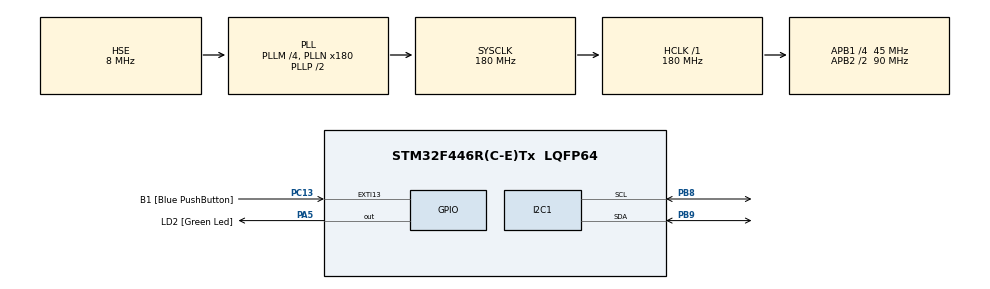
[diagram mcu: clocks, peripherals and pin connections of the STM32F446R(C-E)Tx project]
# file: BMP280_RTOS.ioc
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FREERTOS.Queues01=temp,16,float,0,Dynamic,NULL,NULL
FREERTOS.Tasks01=thread_sensor,0,128,thread_sensor_fun,Default,NULL,Dynamic,NULL,NULL;thread_read,0,128,thread_read_func,Default,NULL,Dynamic,NULL,NULL
I2C1.I2C_Mode=I2C_Fast
Mcu.Family=STM32F4
Mcu.Name=STM32F446R(C-E)Tx
Mcu.Package=LQFP64
NVIC.PriorityGroup=NVIC_PRIORITYGROUP_4
NVIC.TIM7_IRQn=true\:0\:0\:false\:false\:true\:false\:false\:true
NVIC.TimeBase=TIM7_IRQn
NVIC.TimeBaseIP=TIM7
PA13.GPIO_Label=TMS
PA13.Mode=Serial_Wire
PA13.Signal=SYS_JTMS-SWDIO
PA14.GPIO_Label=TCK
PA14.Mode=Serial_Wire
PA14.Signal=SYS_JTCK-SWCLK
PA2.GPIO_Label=USART_TX
PA2.Signal=USART2_TX
PA3.GPIO_Label=USART_RX
PA3.Signal=USART2_RX
PA5.GPIO_Label=LD2 [Green Led]
PA5.Signal=GPIO_Output
PB3.GPIO_Label=SWO
PB3.Signal=SYS_JTDO-SWO
PB8.Mode=I2C
PB8.Signal=I2C1_SCL
PB9.Mode=I2C
PB9.Signal=I2C1_SDA
PC13.GPIO_Label=B1 [Blue PushButton]
PC13.GPIO_ModeDefaultEXTI=GPIO_MODE_IT_FALLING
PC13.Signal=GPXTI13
PC14-OSC32_IN.Signal=RCC_OSC32_IN
PC15-OSC32_OUT.Signal=RCC_OSC32_OUT
PH0-OSC_IN.Mode=HSE-External-Clock-Source
PH0-OSC_IN.Signal=RCC_OSC_IN
PH1-OSC_OUT.Mode=HSE-External-Clock-Source
PH1-OSC_OUT.Signal=RCC_OSC_OUT
ProjectManager.HeapSize=0x200
ProjectManager.StackSize=0x400
ProjectManager.TargetToolchain=STM32CubeIDE
RCC.AHBFreq_Value=180000000
RCC.APB1CLKDivider=RCC_HCLK_DIV4
RCC.APB1Freq_Value=45000000
RCC.APB1TimFreq_Value=90000000
RCC.APB2CLKDivider=RCC_HCLK_DIV2
RCC.APB2Freq_Value=90000000
RCC.APB2TimFreq_Value=180000000
RCC.CortexFreq_Value=180000000
RCC.FLatency-AdvancedSettings=FLASH_LATENCY_5
RCC.HCLKFreq_Value=180000000
RCC.HSE_VALUE=8000000
RCC.HSI_VALUE=16000000
RCC.LSE_VALUE=32768
RCC.PLLM=4
RCC.PLLN=180
RCC.PLLSourceVirtual=RCC_PLLSOURCE_HSE
RCC.SYSCLKFreq_VALUE=180000000
RCC.SYSCLKSource=RCC_SYSCLKSOURCE_PLLCLK
RCC.USBFreq_Value=180000000
RCC.VCOOutputFreq_Value=360000000
VP_FREERTOS_VS_CMSIS_V1.Mode=CMSIS_V1
VP_SYS_VS_tim7.Mode=TIM7
board=NUCLEO-F446RE

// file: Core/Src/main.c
/* USER CODE BEGIN Header */
/**
  ******************************************************************************
  * @file           : main.c
  * @brief          : Main program body
  ******************************************************************************
  * @attention
  *
  * <h2><center>&copy; Copyright (c) 2020 STMicroelectronics.
  * All rights reserved.</center></h2>
  *
  * This software component is licensed by ST under BSD 3-Clause license,
  * the "License"; You may not use this file except in compliance with the
  * License. You may obtain a copy of the License at:
  *                        opensource.org/licenses/BSD-3-Clause
  *
  ******************************************************************************
  */
/* USER CODE END Header */

#include "main.h"
#include "cmsis_os.h"
#include "i2c.h"
#include "gpio.h"
#include "lcd.h"

void SystemClock_Config(void);
void MX_FREERTOS_Init(void);

int main(void)
{

  /* MCU Configuration--------------------------------------------------------*/

  /* Reset of all peripherals, Initializes the Flash interface and the Systick. */
  HAL_Init();

  /* Configure the system clock */
  SystemClock_Config();

  /* Initialize all configured peripherals */
  MX_GPIO_Init();
  MX_I2C1_Init();
  /* USER CODE BEGIN 2 */
  LCD_Init();
  /* USER CODE END 2 */

  /* Call init function for freertos objects (in freertos.c) */
  MX_FREERTOS_Init();

  /* Start scheduler */
  osKernelStart();

  /* We should never get here as control is now taken by the scheduler */

  /* Infinite loop */
  while (1)
  {

  }
}

void SystemClock_Config(void)
{
  RCC_OscInitTypeDef RCC_OscInitStruct = {0};
  RCC_ClkInitTypeDef RCC_ClkInitStruct = {0};

  /** Configure the main internal regulator output voltage
  */
  __HAL_RCC_PWR_CLK_ENABLE();
  __HAL_PWR_VOLTAGESCALING_CONFIG(PWR_REGULATOR_VOLTAGE_SCALE1);
  /** Initializes the CPU, AHB and APB busses clocks
  */
  RCC_OscInitStruct.OscillatorType = RCC_OSCILLATORTYPE_HSE;
  RCC_OscInitStruct.HSEState = RCC_HSE_BYPASS;
  RCC_OscInitStruct.PLL.PLLState = RCC_PLL_ON;
  RCC_OscInitStruct.PLL.PLLSource = RCC_PLLSOURCE_HSE;
  RCC_OscInitStruct.PLL.PLLM = 4;
  RCC_OscInitStruct.PLL.PLLN = 180;
  RCC_OscInitStruct.PLL.PLLP = RCC_PLLP_DIV2;
  RCC_OscInitStruct.PLL.PLLQ = 2;
  RCC_OscInitStruct.PLL.PLLR = 2;
  if (HAL_RCC_OscConfig(&RCC_OscInitStruct) != HAL_OK)
  {
    Error_Handler();
  }
  /** Activate the Over-Drive mode
  */
  if (HAL_PWREx_EnableOverDrive() != HAL_OK)
  {
    Error_Handler();
  }
  /** Initializes the CPU, AHB and APB busses clocks
  */
  RCC_ClkInitStruct.ClockType = RCC_CLOCKTYPE_HCLK|RCC_CLOCKTYPE_SYSCLK
                              |RCC_CLOCKTYPE_PCLK1|RCC_CLOCKTYPE_PCLK2;
  RCC_ClkInitStruct.SYSCLKSource = RCC_SYSCLKSOURCE_PLLCLK;
  RCC_ClkInitStruct.AHBCLKDivider = RCC_SYSCLK_DIV1;
  RCC_ClkInitStruct.APB1CLKDivider = RCC_HCLK_DIV4;
  RCC_ClkInitStruct.APB2CLKDivider = RCC_HCLK_DIV2;

  if (HAL_RCC_ClockConfig(&RCC_ClkInitStruct, FLASH_LATENCY_5) != HAL_OK)
  {
    Error_Handler();
  }
}

void HAL_TIM_PeriodElapsedCallback(TIM_HandleTypeDef *htim)
{
  if (htim->Instance == TIM7) {
    HAL_IncTick();
  }
}

void Error_Handler(void)
{
}

/************************ (C) COPYRIGHT STMicroelectronics *****END OF FILE****/

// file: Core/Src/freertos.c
/* USER CODE BEGIN Header */
/**
  ******************************************************************************
  * File Name          : freertos.c
  * Description        : Code for freertos applications
  ******************************************************************************
  * @attention
  *
  * <h2><center>&copy; Copyright (c) 2020 STMicroelectronics.
  * All rights reserved.</center></h2>
  *
  * This software component is licensed by ST under Ultimate Liberty license
  * SLA0044, the "License"; You may not use this file except in compliance with
  * the License. You may obtain a copy of the License at:
  *                             www.st.com/SLA0044
  *
  ******************************************************************************
  */
/* USER CODE END Header */

#include "FreeRTOS.h"
#include "task.h"
#include "main.h"
#include "cmsis_os.h"
/* USER CODE BEGIN Includes */
#include "i2c.h"
#include "BMP280.h"
#include "stdio.h"
#include "lcd.h"
#include "string.h"
/* USER CODE END Includes */

/* USER CODE BEGIN Variables */
/* Variables for all measurements */
typedef struct{
	double temp , press;
} data;
/* USER CODE END Variables */
osThreadId thread_sensorHandle;
osThreadId thread_readHandle;
//osMessageQId tempHandle;
osMailQId mailHandle;

void thread_sensor_fun(void const * argument);
void thread_read_func(void const * argument);

void MX_FREERTOS_Init(void); /* (MISRA C 2004 rule 8.1) */

/* GetIdleTaskMemory prototype (linked to static allocation support) */
void vApplicationGetIdleTaskMemory( StaticTask_t **ppxIdleTaskTCBBuffer, StackType_t **ppxIdleTaskStackBuffer, uint32_t *pulIdleTaskStackSize );

/* USER CODE BEGIN GET_IDLE_TASK_MEMORY */
static StaticTask_t xIdleTaskTCBBuffer;
static StackType_t xIdleStack[configMINIMAL_STACK_SIZE];

void vApplicationGetIdleTaskMemory( StaticTask_t **ppxIdleTaskTCBBuffer, StackType_t **ppxIdleTaskStackBuffer, uint32_t *pulIdleTaskStackSize )
{
  *ppxIdleTaskTCBBuffer = &xIdleTaskTCBBuffer;
  *ppxIdleTaskStackBuffer = &xIdleStack[0];
  *pulIdleTaskStackSize = configMINIMAL_STACK_SIZE;
  /* place for user code */
}
/* USER CODE END GET_IDLE_TASK_MEMORY */

void MX_FREERTOS_Init(void) {
  /* USER CODE BEGIN Init */
	//double buffer;

  /* USER CODE END Init */

  /* Create the queue(s) */
  /* mail messages */
  osMailQDef(mail, 16, data);
  //mailYPRHandle = osMailCreate(osMailQ(mailYPR), NULL);

  mailHandle = osMailCreate(osMailQ(mail), NULL);

  /* Create the thread(s) */
  /* definition and creation of thread_sensor */
  osThreadDef(thread_sensor, thread_sensor_fun, osPriorityNormal, 0, 128);
  thread_sensorHandle = osThreadCreate(osThread(thread_sensor), NULL);

  /* definition and creation of thread_read */
  osThreadDef(thread_read, thread_read_func, osPriorityNormal, 0, 128);
  thread_readHandle = osThreadCreate(osThread(thread_read), NULL);

}

void thread_sensor_fun(void const * argument)
{
  /* USER CODE BEGIN thread_sensor_fun */
    double temprature;

	int8_t com_rslt;

	bmp280_t bmp280;
	bmp280.i2c_handle = &hi2c1;
	bmp280.dev_addr = BMP280_I2C_ADDRESS1;
	com_rslt = BMP280_init(&bmp280);
	com_rslt += BMP280_set_power_mode(BMP280_NORMAL_MODE);
	com_rslt += BMP280_set_work_mode(BMP280_STANDARD_RESOLUTION_MODE);
	com_rslt += BMP280_set_standby_durn(BMP280_STANDBY_TIME_1_MS);
	if (com_rslt != SUCCESS) {
	        exit(0);
	}

	/* Read temperature and pressure */

	//BMP280_read_pressure_double(&press);

	/* Infinite loop */
  for(;;)
  {

	  data* buffer;
	  buffer = (data * )osMailAlloc(mailHandle,osWaitForever);
	  if (buffer != NULL){
	     buffer->temp = BMP280_read_temperature_double(&temprature);
         osMailPut(mailHandle,buffer);
	  }
    osDelay(1000);
  }
  /* USER CODE END thread_sensor_fun */
}

void thread_read_func(void const * argument)
{
  /* USER CODE BEGIN thread_read_func */

	LCD_Init();
  /* Infinite loop */
	data* buffer;
	osEvent evt;
	double rx;
	for(;;)
  {
	  evt = osMailGet(mailHandle, osWaitForever);
	  if (evt.status == osEventMail){
	  rx = evt.value.v;
	  LCD_Printf("%0.4f sys",rx);
	  }
    osDelay(1);
  }
  /* USER CODE END thread_read_func */
}

/************************ (C) COPYRIGHT STMicroelectronics *****END OF FILE****/
